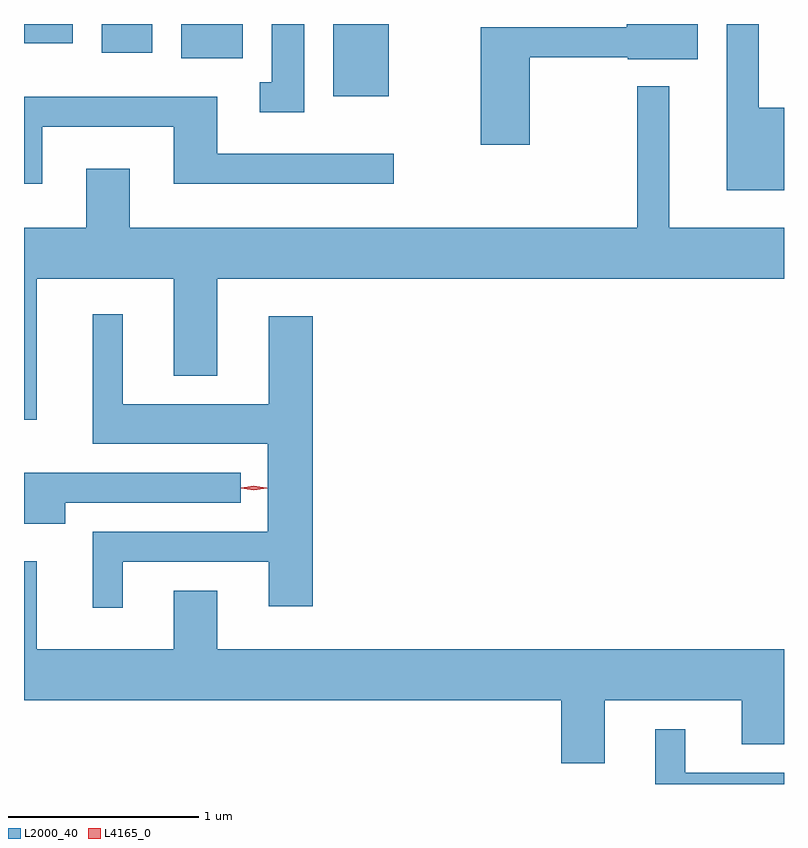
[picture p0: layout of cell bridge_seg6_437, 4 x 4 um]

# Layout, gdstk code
import gdstk
lib = gdstk.Library(unit=1e-6, precision=1e-09)
def R(c, l, rs):  # rectangles x0, y0, x1, y1
    for r in rs: c.add(gdstk.rectangle(r[:2], r[2:], *l))
def P(c, l, *ps):  # polygons
    for p in ps: c.add(gdstk.Polygon(p, *l))
L2000_40 = (2000, 40)
L4165_0 = (4165, 0)

bridge_seg6_437 = lib.new_cell('bridge_seg6_437')
R(bridge_seg6_437, L2000_40, [(663.301,1608.716,663.594,1609.096), (662.501,1608.916,662.824,1609.096), (662.081,1608.946,662.349,1609.096), (661.673,1608.996,661.929,1609.096)])
P(bridge_seg6_437, L2000_40, [(663.149,1609.096),(662.976,1609.096),(662.976,1608.789),(662.913,1608.789),(662.913,1608.631),(663.149,1608.631)],
  [(665.673,1608.654),(665.539,1608.654),(665.539,1609.096),(665.371,1609.096),(665.371,1608.221),(665.673,1608.221)],
  [(664.334,1608.921),(664.85,1608.921),(664.85,1608.911),(665.219,1608.911),(665.219,1609.096),(664.846,1609.096),(664.846,1609.079),(664.076,1609.079),(664.076,1608.461),(664.334,1608.461)],
  [(661.739,1607.756),(662.461,1607.756),(662.461,1607.246),(662.689,1607.246),(662.689,1607.756),(665.673,1607.756),(665.673,1608.024),(665.069,1608.024),(665.069,1608.768),(664.901,1608.768),(664.901,1608.024),(662.229,1608.024),(662.229,1608.334),(662.001,1608.334),(662.001,1608.024),(661.673,1608.024),(661.673,1607.013),(661.739,1607.013)],
  [(661.769,1608.556),(662.461,1608.556),(662.461,1608.256),(663.618,1608.256),(663.618,1608.414),(662.689,1608.414),(662.689,1608.714),(661.673,1608.714),(661.673,1608.256),(661.769,1608.256)],
  [(662.194,1606.266),(662.961,1606.266),(662.961,1606.031),(663.194,1606.031),(663.194,1607.559),(662.961,1607.559),(662.961,1607.094),(662.194,1607.094),(662.194,1607.568),(662.036,1607.568),(662.036,1606.886),(662.956,1606.886),(662.956,1606.424),(662.036,1606.424),(662.036,1606.023),(662.194,1606.023)],
  [(661.889,1606.576),(662.813,1606.576),(662.813,1606.734),(661.673,1606.734),(661.673,1606.466),(661.889,1606.466)],
  [(664.729,1605.536),(665.451,1605.536),(665.451,1605.306),(665.673,1605.306),(665.673,1605.804),(662.689,1605.804),(662.689,1606.114),(662.461,1606.114),(662.461,1605.804),(661.739,1605.804),(661.739,1606.268),(661.673,1606.268),(661.673,1605.536),(664.501,1605.536),(664.501,1605.206),(664.729,1605.206)],
  [(665.673,1605.154),(665.154,1605.154),(665.154,1605.383),(664.996,1605.383),(664.996,1605.096),(665.673,1605.096)])
P(bridge_seg6_437, L4165_0, [(662.883,1606.643),(662.814,1606.652),(662.813,1606.653),(662.814,1606.653),(662.883,1606.663),(662.952,1606.653),(662.953,1606.653),(662.952,1606.652)],
  [(662.883,1606.645),(662.817,1606.654),(662.817,1606.655),(662.817,1606.656),(662.883,1606.665),(662.949,1606.656),(662.95,1606.655),(662.949,1606.654)])

lib.write_gds('bridge_seg6_437.gds')
